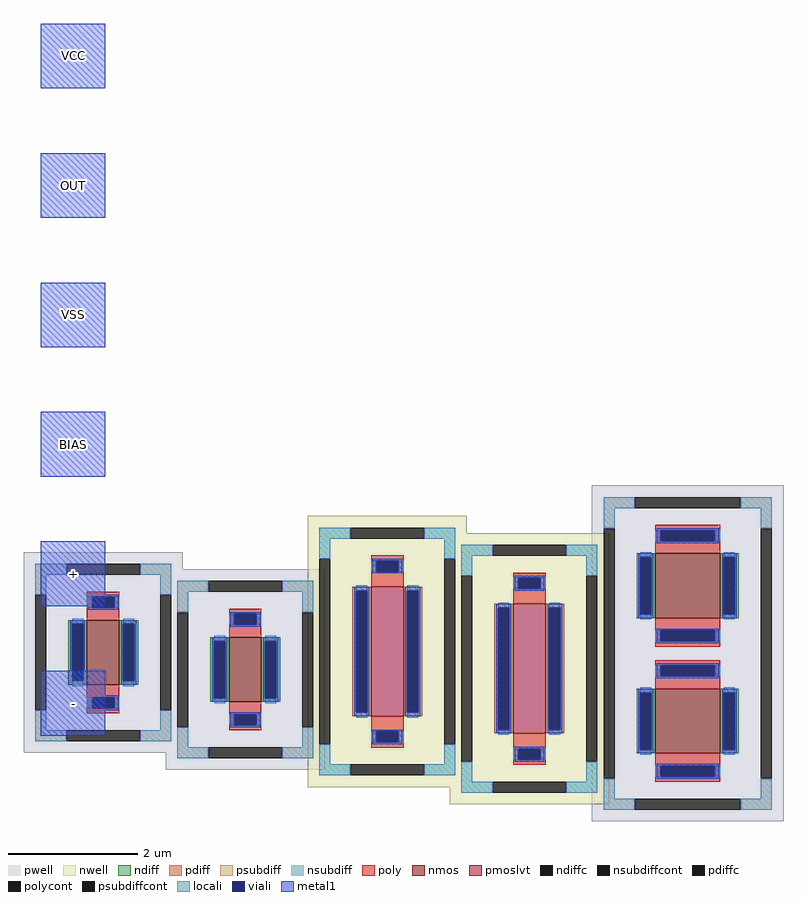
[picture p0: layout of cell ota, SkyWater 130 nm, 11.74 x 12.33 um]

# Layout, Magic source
magic
tech sky130A
magscale 1 2
<< metal1 >>
rect 0 0 200 200
rect 0 -400 200 -200
rect 0 -800 200 -600
rect 0 -1200 200 -1000
rect 0 -1600 200 -1400
rect 0 -2000 200 -1800
use sky130_fd_pr__nfet_01v8_FGWQMQ  XM1
transform 1 0 193 0 1 -1743
box -246 -310 246 310
use sky130_fd_pr__nfet_01v8_FGWQMQ  XM2
transform 1 0 632 0 1 -1796
box -246 -310 246 310
use sky130_fd_pr__pfet_01v8_lvt_7M33HH  XM3
transform 1 0 1071 0 1 -1740
box -246 -419 246 419
use sky130_fd_pr__pfet_01v8_lvt_7M33HH  XM4
transform 1 0 1510 0 1 -1793
box -246 -419 246 419
use sky130_fd_pr__nfet_01v8_XETRKN  XM5
transform 1 0 1999 0 1 -1746
box -296 -519 296 519
<< labels >>
flabel metal1 0 0 200 200 0 FreeSans 1600 0 0 0 VCC
port 0 nsew
flabel metal1 0 -400 200 -200 0 FreeSans 1600 0 0 0 OUT
port 1 nsew
flabel metal1 0 -800 200 -600 0 FreeSans 1600 0 0 0 VSS
port 2 nsew
flabel metal1 0 -1200 200 -1000 0 FreeSans 1600 0 0 0 BIAS
port 3 nsew
flabel metal1 0 -1600 200 -1400 0 FreeSans 1600 0 0 0 +
port 4 nsew
flabel metal1 0 -2000 200 -1800 0 FreeSans 1600 0 0 0 -
port 5 nsew
<< end >>

# cell sky130_fd_pr__nfet_01v8_FGWQMQ: kit device sky130_fd_pr__nfet_01v8, w 1.0 l 0.5 m 1 nf 1 diffcov 100 polycov 100 guard 1 glc 1 grc 1 gtc 1 gbc 1 tbcov 100 rlcov 100 topc 1 botc 1 poverlap 0 doverlap 1 lmin 0.15 wmin 0.42 class mosfet compatible {sky130_fd_pr__nfet_01v8 sky130_fd_pr__nfet_01v8_lvt sky130_fd_bs_flash__special_sonosfet_star sky130_fd_pr__nfet_g5v0d10v5 sky130_fd_pr__nfet_05v0_nvt sky130_fd_pr__nfet_03v3_nvt} full_metal 1 conn_gates 0 viasrc 100 viadrn 100 viagate 100 viagb 0 viagr 0 viagl 0 viagt 0 doports 1

# cell sky130_fd_pr__pfet_01v8_lvt_7M33HH: kit device sky130_fd_pr__pfet_01v8_lvt, w 2.0 l 0.5 m 1 nf 1 diffcov 100 polycov 100 guard 1 glc 1 grc 1 gtc 1 gbc 1 tbcov 100 rlcov 100 topc 1 botc 1 poverlap 0 doverlap 1 lmin 0.35 wmin 0.42 class mosfet compatible {sky130_fd_pr__pfet_01v8 sky130_fd_pr__pfet_01v8_lvt sky130_fd_pr__pfet_01v8_hvt sky130_fd_pr__pfet_g5v0d10v5} full_metal 1 conn_gates 0 viasrc 100 viadrn 100 viagate 100 viagb 0 viagr 0 viagl 0 viagt 0 doports 1

# cell sky130_fd_pr__nfet_01v8_XETRKN: kit device sky130_fd_pr__nfet_01v8, w 1.0 l 1.0 m 2 nf 1 diffcov 100 polycov 100 guard 1 glc 1 grc 1 gtc 1 gbc 1 tbcov 100 rlcov 100 topc 1 botc 1 poverlap 0 doverlap 1 lmin 0.15 wmin 0.42 class mosfet compatible {sky130_fd_pr__nfet_01v8 sky130_fd_pr__nfet_01v8_lvt sky130_fd_bs_flash__special_sonosfet_star sky130_fd_pr__nfet_g5v0d10v5 sky130_fd_pr__nfet_05v0_nvt sky130_fd_pr__nfet_03v3_nvt} full_metal 1 conn_gates 0 viasrc 100 viadrn 100 viagate 100 viagb 0 viagr 0 viagl 0 viagt 0 doports 1
